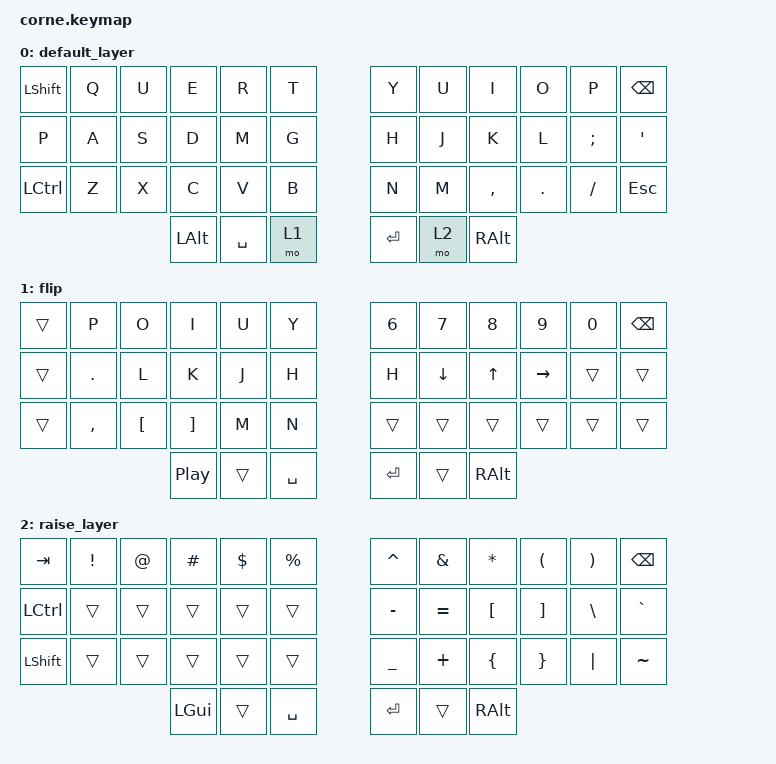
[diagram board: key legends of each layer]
/*
 * Copyright (c) 2020 The ZMK Contributors
 *
 * SPDX-License-Identifier: MIT
 */

#include <behaviors.dtsi>
#include <dt-bindings/zmk/keys.h>

/ {
    keymap {
        compatible = "zmk,keymap";

        default_layer {
            // -----------------------------------------------------------------------------------------
            // |  TAB |  Q  |  W  |  E  |  R  |  T  |   |  Y  |  U   |  I  |  O  |  P  | BSPC |
            // | CTRL |  A  |  S  |  D  |  F  |  G  |   |  H  |  J   |  K  |  L  |  ;  |  '   |
            // | SHFT |  Z  |  X  |  C  |  V  |  B  |   |  N  |  M   |  ,  |  .  |  /  | ESC  |
            //                    | GUI | LWR | SPC |   | ENT | RSE  | ALT |

            bindings = <
&kp LEFT_SHIFT  &kp Q  &kp U  &kp E         &kp R      &kp T    &kp Y    &kp U  &kp I      &kp O    &kp P     &kp BSPC
&kp P           &kp A  &kp S  &kp D         &kp M      &kp G    &kp H    &kp J  &kp K      &kp L    &kp SEMI  &kp SQT
&kp LCTRL       &kp Z  &kp X  &kp C         &kp V      &kp B    &kp N    &kp M  &kp COMMA  &kp DOT  &kp FSLH  &kp ESC
                              &kp LEFT_ALT  &kp SPACE  &mo 1    &kp RET  &mo 2  &kp RALT
            >;
        };

        flip {
            // -----------------------------------------------------------------------------------------
            // |  TAB |  1  |  2  |  3  |  4  |  5  |   |  6  |  7  |  8  |  9  |  0  | BSPC |
            // | BTCLR| BT1 | BT2 | BT3 | BT4 | BT5 |   | LFT | DWN |  UP | RGT |     |      |
            // | SHFT |     |     |     |     |     |   |     |     |     |     |     |      |
            //                    | GUI |     | SPC |   | ENT |     | ALT |

            bindings = <
&trans  &kp P       &kp O     &kp I             &kp U   &kp Y        &kp N6   &kp N7    &kp N8    &kp N9     &kp N0  &kp BSPC
&trans  &kp PERIOD  &kp L     &kp K             &kp J   &kp H        &kp H    &kp DOWN  &kp UP    &kp RIGHT  &trans  &trans
&trans  &kp COMMA   &kp LBKT  &kp RBKT          &kp M   &kp N        &trans   &trans    &trans    &trans     &trans  &trans
                              &kp C_PLAY_PAUSE  &trans  &kp SPACE    &kp RET  &trans    &kp RALT
            >;
        };

        raise_layer {
            // -----------------------------------------------------------------------------------------
            // |  TAB |  !  |  @  |  #  |  $  |  %  |   |  ^  |  &  |  *  |  (  |  )  | BSPC |
            // | CTRL |     |     |     |     |     |   |  -  |  =  |  [  |  ]  |  \  |  `   |
            // | SHFT |     |     |     |     |     |   |  _  |  +  |  {  |  }  | "|" |  ~   |
            //                    | GUI |     | SPC |   | ENT |     | ALT |

            bindings = <
&kp TAB    &kp EXCL  &kp AT  &kp HASH  &kp DLLR  &kp PRCNT    &kp CARET  &kp AMPS   &kp ASTRK  &kp LPAR  &kp RPAR  &kp BSPC
&kp LCTRL  &trans    &trans  &trans    &trans    &trans       &kp MINUS  &kp EQUAL  &kp LBKT   &kp RBKT  &kp BSLH  &kp GRAVE
&kp LSHFT  &trans    &trans  &trans    &trans    &trans       &kp UNDER  &kp PLUS   &kp LBRC   &kp RBRC  &kp PIPE  &kp TILDE
                             &kp LGUI  &trans    &kp SPACE    &kp RET    &trans     &kp RALT
            >;
        };
    };
};
